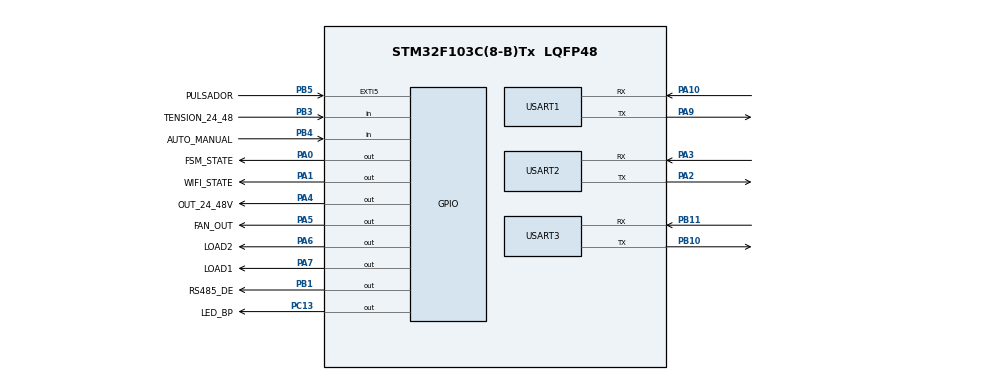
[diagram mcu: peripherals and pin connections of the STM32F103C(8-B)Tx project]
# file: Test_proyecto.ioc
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FREERTOS.Tasks01=defaultTask,24,128,StartDefaultTask,Default,NULL,Dynamic,NULL,NULL
FREERTOS.configTOTAL_HEAP_SIZE=8000
FREERTOS.configUSE_NEWLIB_REENTRANT=1
FREERTOS.configUSE_TICKLESS_IDLE=1
Mcu.Family=STM32F1
Mcu.Name=STM32F103C(8-B)Tx
Mcu.Package=LQFP48
NVIC.EXTI9_5_IRQn=true\:5\:0\:false\:false\:true\:true\:true\:true\:true
NVIC.PriorityGroup=NVIC_PRIORITYGROUP_4
NVIC.TIM1_UP_IRQn=true\:15\:0\:false\:false\:true\:false\:false\:true\:true
NVIC.TimeBase=TIM1_UP_IRQn
NVIC.TimeBaseIP=TIM1
NVIC.USART1_IRQn=true\:5\:0\:false\:false\:true\:true\:true\:true\:true
NVIC.USART3_IRQn=true\:5\:0\:false\:false\:true\:true\:true\:true\:true
PA0-WKUP.GPIO_Label=FSM_STATE
PA0-WKUP.Signal=GPIO_Output
PA1.GPIO_Label=WIFI_STATE
PA1.Signal=GPIO_Output
PA10.Mode=Asynchronous
PA10.Signal=USART1_RX
PA13.Mode=Serial_Wire
PA13.Signal=SYS_JTMS-SWDIO
PA14.Mode=Serial_Wire
PA14.Signal=SYS_JTCK-SWCLK
PA2.Mode=Asynchronous
PA2.Signal=USART2_TX
PA3.Mode=Asynchronous
PA3.Signal=USART2_RX
PA4.GPIO_Label=OUT_24_48V
PA4.Signal=GPIO_Output
PA5.GPIO_Label=FAN_OUT
PA5.Signal=GPIO_Output
PA6.GPIO_Label=LOAD2
PA6.Signal=GPIO_Output
PA7.GPIO_Label=LOAD1
PA7.Signal=GPIO_Output
PA9.Mode=Asynchronous
PA9.Signal=USART1_TX
PB1.GPIO_Label=RS485_DE
PB1.Signal=GPIO_Output
PB10.Mode=Asynchronous
PB10.Signal=USART3_TX
PB11.Mode=Asynchronous
PB11.Signal=USART3_RX
PB3.GPIO_Label=TENSION_24_48
PB3.GPIO_PuPd=GPIO_PULLDOWN
PB3.Signal=GPIO_Input
PB4.GPIO_Label=AUTO_MANUAL
PB4.GPIO_PuPd=GPIO_PULLDOWN
PB4.Signal=GPIO_Input
PB5.GPIO_Label=PULSADOR
PB5.GPIO_PuPd=GPIO_PULLDOWN
PB5.Signal=GPXTI5
PC13-TAMPER-RTC.GPIO_Label=LED_BP
PC13-TAMPER-RTC.Signal=GPIO_Output
PC14-OSC32_IN.Mode=LSE-External-Oscillator
PC14-OSC32_IN.Signal=RCC_OSC32_IN
PC15-OSC32_OUT.Mode=LSE-External-Oscillator
PC15-OSC32_OUT.Signal=RCC_OSC32_OUT
PD0-OSC_IN.Mode=HSE-External-Oscillator
PD0-OSC_IN.Signal=RCC_OSC_IN
PD1-OSC_OUT.Mode=HSE-External-Oscillator
PD1-OSC_OUT.Signal=RCC_OSC_OUT
ProjectManager.HeapSize=0x200
ProjectManager.StackSize=0x400
ProjectManager.TargetToolchain=STM32CubeIDE
RCC.APB1Freq_Value=8000000
RCC.APB2Freq_Value=8000000
RCC.RTCClockSelection=RCC_RTCCLKSOURCE_LSE
RTC.Format=RTC_FORMAT_BIN
USART1.VirtualMode=VM_ASYNC
USART2.VirtualMode=VM_ASYNC
USART3.VirtualMode=VM_ASYNC
VP_FREERTOS_VS_CMSIS_V2.Mode=CMSIS_V2
VP_RTC_VS_RTC_Activate.Mode=RTC_Enabled
VP_RTC_VS_RTC_Calendar.Mode=RTC_Calendar
VP_SYS_VS_tim1.Mode=TIM1
board=custom

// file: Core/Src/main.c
/* USER CODE BEGIN Header */
/**
  ******************************************************************************
  * @file           : main.c
  * @brief          : Main program body
  ******************************************************************************
  * @attention
  *
  * Copyright (c) 2025 STMicroelectronics.
  * All rights reserved.
  *
  * This software is licensed under terms that can be found in the LICENSE file
  * in the root directory of this software component.
  * If no LICENSE file comes with this software, it is provided AS-IS.
  *
  ******************************************************************************
  */
/* USER CODE END Header */
#include "main.h"
#include "cmsis_os.h"

/* USER CODE BEGIN Includes */
#include "fsm_monitor.h"
#include "esp8266.h"
#include "rtc_driver.h"
#include "user_gpio.h"
#include <stdio.h>
/* USER CODE END Includes */

RTC_HandleTypeDef hrtc;

UART_HandleTypeDef huart1;
UART_HandleTypeDef huart2;
UART_HandleTypeDef huart3;

/* Definitions for defaultTask */
osThreadId_t defaultTaskHandle;
const osThreadAttr_t defaultTask_attributes = {
  .name = "defaultTask",
  .stack_size = 128 * 4,
  .priority = (osPriority_t) osPriorityNormal,
};

void SystemClock_Config(void);
static void MX_GPIO_Init(void);
static void MX_USART1_UART_Init(void);
static void MX_USART3_UART_Init(void);
static void MX_RTC_Init(void);
static void MX_USART2_UART_Init(void);
void StartDefaultTask(void *argument);

/* USER CODE BEGIN PFP */
/* Redirección printf -> UART2 */
int __io_putchar(int ch) {
  extern UART_HandleTypeDef huart2;
  HAL_UART_Transmit(&huart2, (uint8_t *)&ch, 1, 10);
  return ch;
}
/* USER CODE END PFP */

int main(void)
{

  /* MCU Configuration--------------------------------------------------------*/
  /* Reset of all peripherals, Initializes the Flash interface and the Systick. */
  HAL_Init();

  /* Configure the system clock */
  SystemClock_Config();

  /* Initialize all configured peripherals */
  MX_GPIO_Init();
  MX_USART1_UART_Init();
  MX_USART3_UART_Init();
  MX_RTC_Init();
  MX_USART2_UART_Init();

  /* USER CODE BEGIN 2 */
  printf("\r\n--- START ---\r\n");

    // Inicializamos el hardware del RTC primero.
    // NOTA: La verificación de "si está configurado" la hará la FSM.
  	RTC_Driver_Init(&hrtc);

    esp8266_init();
    FSM_MONITOR_INIT();
  /* USER CODE END 2 */

  /* Init scheduler */
  osKernelInitialize();

  /* Create the thread(s) */
  defaultTaskHandle = osThreadNew(StartDefaultTask, NULL, &defaultTask_attributes);

  /* Start scheduler */
  osKernelStart();

  /* We should never get here as control is now taken by the scheduler */
  while (1)
  {
  }
}

void SystemClock_Config(void)
{
  RCC_OscInitTypeDef RCC_OscInitStruct = {0};
  RCC_ClkInitTypeDef RCC_ClkInitStruct = {0};
  RCC_PeriphCLKInitTypeDef PeriphClkInit = {0};

  /** Initializes the RCC Oscillators according to the specified parameters
  * in the RCC_OscInitTypeDef structure.
  */
  RCC_OscInitStruct.OscillatorType = RCC_OSCILLATORTYPE_HSI|RCC_OSCILLATORTYPE_LSE;
  RCC_OscInitStruct.LSEState = RCC_LSE_ON;
  RCC_OscInitStruct.HSIState = RCC_HSI_ON;
  RCC_OscInitStruct.HSICalibrationValue = RCC_HSICALIBRATION_DEFAULT;
  RCC_OscInitStruct.PLL.PLLState = RCC_PLL_NONE;
  if (HAL_RCC_OscConfig(&RCC_OscInitStruct) != HAL_OK)
  {
    Error_Handler();
  }

  /** Initializes the CPU, AHB and APB buses clocks
  */
  RCC_ClkInitStruct.ClockType = RCC_CLOCKTYPE_HCLK|RCC_CLOCKTYPE_SYSCLK
                              |RCC_CLOCKTYPE_PCLK1|RCC_CLOCKTYPE_PCLK2;
  RCC_ClkInitStruct.SYSCLKSource = RCC_SYSCLKSOURCE_HSI;
  RCC_ClkInitStruct.AHBCLKDivider = RCC_SYSCLK_DIV1;
  RCC_ClkInitStruct.APB1CLKDivider = RCC_HCLK_DIV1;
  RCC_ClkInitStruct.APB2CLKDivider = RCC_HCLK_DIV1;

  if (HAL_RCC_ClockConfig(&RCC_ClkInitStruct, FLASH_LATENCY_0) != HAL_OK)
  {
    Error_Handler();
  }
  PeriphClkInit.PeriphClockSelection = RCC_PERIPHCLK_RTC;
  PeriphClkInit.RTCClockSelection = RCC_RTCCLKSOURCE_LSE;
  if (HAL_RCCEx_PeriphCLKConfig(&PeriphClkInit) != HAL_OK)
  {
    Error_Handler();
  }
}

static void MX_RTC_Init(void)
{

  /** Initialize RTC Only
  */
  hrtc.Instance = RTC;
  hrtc.Init.AsynchPrediv = RTC_AUTO_1_SECOND;
  hrtc.Init.OutPut = RTC_OUTPUTSOURCE_ALARM;
  if (HAL_RTC_Init(&hrtc) != HAL_OK)
  {
    Error_Handler();
  }

  /* USER CODE BEGIN Check_RTC_BKUP */
  // COMENTAMOS ESTA PARTE PARA QUE NO BORRE LA HORA EN EL REINICIO
  /* USER CODE END Check_RTC_BKUP */

  /*
   * ¡IMPORTANTE!
   * La parte que configura sTime y DateToUpdate DEBE ESTAR COMENTADA.
   * Si dejas esto activo, cada vez que el micro reinicia, pondrá la hora en 00:00:00
   * y sobreescribirá tu configuración de batería.
   */

  /* RTC_TimeTypeDef sTime = {0};
  RTC_DateTypeDef DateToUpdate = {0};

  sTime.Hours = 0;
  sTime.Minutes = 0;
  sTime.Seconds = 0;

  if (HAL_RTC_SetTime(&hrtc, &sTime, RTC_FORMAT_BIN) != HAL_OK)
  {
    Error_Handler();
  }
  DateToUpdate.WeekDay = RTC_WEEKDAY_MONDAY;
  DateToUpdate.Month = RTC_MONTH_JANUARY;
  DateToUpdate.Date = 1;
  DateToUpdate.Year = 0;

  if (HAL_RTC_SetDate(&hrtc, &DateToUpdate, RTC_FORMAT_BIN) != HAL_OK)
  {
    Error_Handler();
  }
  */

}

static void MX_USART1_UART_Init(void)
{
  huart1.Instance = USART1;
  huart1.Init.BaudRate = 115200;
  huart1.Init.WordLength = UART_WORDLENGTH_8B;
  huart1.Init.StopBits = UART_STOPBITS_1;
  huart1.Init.Parity = UART_PARITY_NONE;
  huart1.Init.Mode = UART_MODE_TX_RX;
  huart1.Init.HwFlowCtl = UART_HWCONTROL_NONE;
  huart1.Init.OverSampling = UART_OVERSAMPLING_16;
  if (HAL_UART_Init(&huart1) != HAL_OK)
  {
    Error_Handler();
  }
}

static void MX_USART2_UART_Init(void)
{
  huart2.Instance = USART2;
  huart2.Init.BaudRate = 115200;
  huart2.Init.WordLength = UART_WORDLENGTH_8B;
  huart2.Init.StopBits = UART_STOPBITS_1;
  huart2.Init.Parity = UART_PARITY_NONE;
  huart2.Init.Mode = UART_MODE_TX_RX;
  huart2.Init.HwFlowCtl = UART_HWCONTROL_NONE;
  huart2.Init.OverSampling = UART_OVERSAMPLING_16;
  if (HAL_UART_Init(&huart2) != HAL_OK)
  {
    Error_Handler();
  }
}

static void MX_USART3_UART_Init(void)
{
  huart3.Instance = USART3;
  huart3.Init.BaudRate = 115200;
  huart3.Init.WordLength = UART_WORDLENGTH_8B;
  huart3.Init.StopBits = UART_STOPBITS_1;
  huart3.Init.Parity = UART_PARITY_NONE;
  huart3.Init.Mode = UART_MODE_TX_RX;
  huart3.Init.HwFlowCtl = UART_HWCONTROL_NONE;
  huart3.Init.OverSampling = UART_OVERSAMPLING_16;
  if (HAL_UART_Init(&huart3) != HAL_OK)
  {
    Error_Handler();
  }
}

static void MX_GPIO_Init(void)
{
  GPIO_InitTypeDef GPIO_InitStruct = {0};

  /* GPIO Ports Clock Enable */
  __HAL_RCC_GPIOC_CLK_ENABLE();
  __HAL_RCC_GPIOD_CLK_ENABLE();
  __HAL_RCC_GPIOA_CLK_ENABLE();
  __HAL_RCC_GPIOB_CLK_ENABLE();

  /*Configure GPIO pin Output Level */
  HAL_GPIO_WritePin(LED_BP_GPIO_Port, LED_BP_Pin, GPIO_PIN_RESET);

  /*Configure GPIO pin Output Level */
  HAL_GPIO_WritePin(GPIOA, FSM_STATE_Pin|WIFI_STATE_Pin|OUT_24_48V_Pin|FAN_OUT_Pin
                          |LOAD2_Pin|LOAD1_Pin, GPIO_PIN_RESET);

  /*Configure GPIO pin Output Level */
  HAL_GPIO_WritePin(RS485_DE_GPIO_Port, RS485_DE_Pin, GPIO_PIN_RESET);

  /*Configure GPIO pin : LED_BP_Pin */
  GPIO_InitStruct.Pin = LED_BP_Pin;
  GPIO_InitStruct.Mode = GPIO_MODE_OUTPUT_PP;
  GPIO_InitStruct.Pull = GPIO_NOPULL;
  GPIO_InitStruct.Speed = GPIO_SPEED_FREQ_LOW;
  HAL_GPIO_Init(LED_BP_GPIO_Port, &GPIO_InitStruct);

  /*Configure GPIO pins : FSM_STATE_Pin WIFI_STATE_Pin OUT_24_48V_Pin FAN_OUT_Pin
                           LOAD2_Pin LOAD1_Pin */
  GPIO_InitStruct.Pin = FSM_STATE_Pin|WIFI_STATE_Pin|OUT_24_48V_Pin|FAN_OUT_Pin
                          |LOAD2_Pin|LOAD1_Pin;
  GPIO_InitStruct.Mode = GPIO_MODE_OUTPUT_PP;
  GPIO_InitStruct.Pull = GPIO_NOPULL;
  GPIO_InitStruct.Speed = GPIO_SPEED_FREQ_LOW;
  HAL_GPIO_Init(GPIOA, &GPIO_InitStruct);

  /*Configure GPIO pin : RS485_DE_Pin */
  GPIO_InitStruct.Pin = RS485_DE_Pin;
  GPIO_InitStruct.Mode = GPIO_MODE_OUTPUT_PP;
  GPIO_InitStruct.Pull = GPIO_NOPULL;
  GPIO_InitStruct.Speed = GPIO_SPEED_FREQ_LOW;
  HAL_GPIO_Init(RS485_DE_GPIO_Port, &GPIO_InitStruct);

  /*Configure GPIO pins : TENSION_24_48_Pin AUTO_MANUAL_Pin */
  GPIO_InitStruct.Pin = TENSION_24_48_Pin|AUTO_MANUAL_Pin;
  GPIO_InitStruct.Mode = GPIO_MODE_INPUT;
  GPIO_InitStruct.Pull = GPIO_PULLDOWN;
  HAL_GPIO_Init(GPIOB, &GPIO_InitStruct);

  /*Configure GPIO pin : PULSADOR_Pin */
  GPIO_InitStruct.Pin = PULSADOR_Pin;
  GPIO_InitStruct.Mode = GPIO_MODE_IT_RISING;
  GPIO_InitStruct.Pull = GPIO_PULLDOWN;
  HAL_GPIO_Init(PULSADOR_GPIO_Port, &GPIO_InitStruct);

  /* EXTI interrupt init*/
  HAL_NVIC_SetPriority(EXTI9_5_IRQn, 5, 0);
  HAL_NVIC_EnableIRQ(EXTI9_5_IRQn);
}

void StartDefaultTask(void *argument)
{
  /* USER CODE BEGIN 5 */
  /* Infinite loop */
  for(;;)
  {
	HAL_GPIO_TogglePin(LED_BP_GPIO_Port, LED_BP_Pin);
    osDelay(500);
  }
  /* USER CODE END 5 */
}

void HAL_TIM_PeriodElapsedCallback(TIM_HandleTypeDef *htim)
{
  if (htim->Instance == TIM1)
  {
    HAL_IncTick();
  }
}

void Error_Handler(void)
{
  __disable_irq();
  while (1)
  {
  }
}
